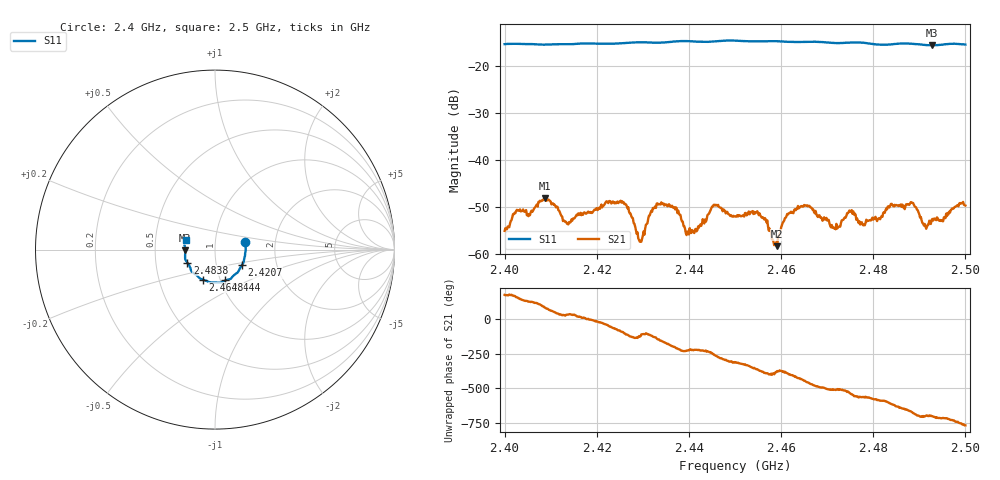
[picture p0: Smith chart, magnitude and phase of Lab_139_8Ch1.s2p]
# Hz S RI R 50
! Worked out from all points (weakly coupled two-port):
!   601 points, 2.4 GHz to 2.5 GHz, reference 50 ohm
!   highest |S21| = -48.10 dB at 2.4087 GHz (marker M1); lowest = -58.3 dB at 2.4592 GHz (marker M2)
!   lowest |S11| = -15.6 dB at 2.4928 GHz (marker M3), VSWR 1.40, Z = 35.7 - j0.312 ohm
!   |S11| at or under -10 dB: start of sweep to end of sweep
!   S12 and S22 are empty: the file has one direction only
!   S11 on the Smith chart (normalised r, x): 2.4 GHz: 1.39, +0.12; 2.4207 GHz: 1.33, -0.24; 2.444 GHz: 1.05, -0.37; 2.4648 GHz: 0.83, -0.29; 2.4838 GHz: 0.73, -0.11; 2.5 GHz: 0.72, +0.08
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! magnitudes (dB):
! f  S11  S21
! 2.4 GHz  -15.3  -55.0
! 2.4087 GHz  -15.4  -48.1
! 2.4133 GHz  -15.3  -53.1
! 2.4167 GHz  -15.2  -51.7
! 2.4207 GHz  -15.2  -50.3
! 2.426 GHz  -15.1  -49.3
! 2.4295 GHz  -14.9  -57.1
! 2.4333 GHz  -15.0  -49.4
! 2.4368 GHz  -14.8  -50.0
! 2.4398 GHz  -14.7  -55.6
! 2.444 GHz  -14.8  -51.7
! 2.45 GHz  -14.6  -52.0
! 2.455 GHz  -14.7  -51.1
! 2.4592 GHz  -14.7  -58.3
! 2.4613 GHz  -14.8  -51.4
! 2.4648 GHz  -14.9  -49.8
! 2.4667 GHz  -14.8  -50.1
! 2.4717 GHz  -15.1  -54.4
! 2.4833 GHz  -15.4  -49.8
! 2.4838 GHz  -15.4  -49.3
! 2.4928 GHz  -15.6  -52.5
! 2.5 GHz  -15.4  -49.6
